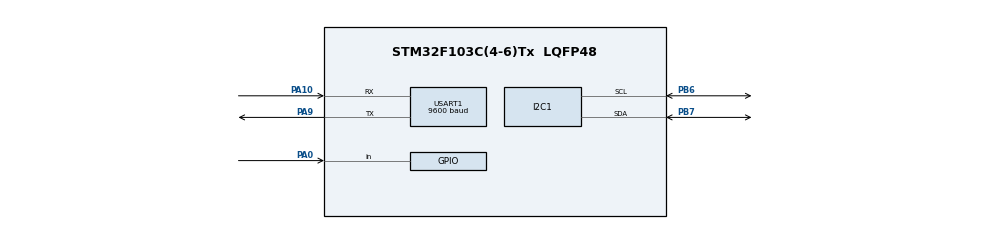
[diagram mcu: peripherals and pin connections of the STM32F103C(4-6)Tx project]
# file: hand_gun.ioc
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Mcu.Family=STM32F1
Mcu.Name=STM32F103C(4-6)Tx
Mcu.Package=LQFP48
NVIC.PriorityGroup=NVIC_PRIORITYGROUP_4
NVIC.USART1_IRQn=true\:0\:0\:false\:false\:true\:true\:true\:true
PA0-WKUP.GPIO_PuPd=GPIO_NOPULL
PA0-WKUP.Signal=GPIO_Input
PA10.Mode=Asynchronous
PA10.Signal=USART1_RX
PA9.Mode=Asynchronous
PA9.Signal=USART1_TX
PB6.Mode=I2C
PB6.Signal=I2C1_SCL
PB7.Mode=I2C
PB7.Signal=I2C1_SDA
ProjectManager.HeapSize=0x200
ProjectManager.StackSize=0x400
ProjectManager.TargetToolchain=STM32CubeIDE
RCC.APB1Freq_Value=8000000
RCC.APB2Freq_Value=8000000
USART1.BaudRate=9600
USART1.VirtualMode=VM_ASYNC
VP_SYS_VS_ND.Mode=No_Debug
board=custom

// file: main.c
/* USER CODE BEGIN Header */
/**
  ******************************************************************************
  * @file           : main.c
  * @brief          : Main program body
  ******************************************************************************
  * @attention
  *
  * Copyright (c) 2026 STMicroelectronics.
  * All rights reserved.
  *
  * This software is licensed under terms that can be found in the LICENSE file
  * in the root directory of this software component.
  * If no LICENSE file comes with this software, it is provided AS-IS.
  *
  ******************************************************************************
  */
/* USER CODE END Header */
#include "main.h"

/* USER CODE BEGIN Includes */
#include <stdio.h> // Required for sprintf
/* USER CODE END Includes */

/* USER CODE BEGIN PD */
// The MPU6050 I2C address shifted left by 1 bit for the HAL library
#define MPU6050_ADDR (0x68 << 1)
// Registers we need to access
#define MPU6050_PWR_MGMT_1_REG 0x6B
#define MPU6050_GYRO_XOUT_H_REG 0x43
#define MPU6050_ACCEL_XOUT_H_REG 0x3B // We start reading from here now
/* USER CODE END PD */

I2C_HandleTypeDef hi2c1;

UART_HandleTypeDef huart1;

/* USER CODE BEGIN PV */
int16_t Gyro_X_RAW = 0;
int16_t Gyro_Y_RAW = 0;
int16_t Gyro_Z_RAW = 0;

int16_t Accel_X_RAW = 0;
int16_t Accel_Y_RAW = 0;
int16_t Accel_Z_RAW = 0;

volatile uint8_t uart_tx_ready = 1;

/* USER CODE END PV */

void SystemClock_Config(void);
static void MX_GPIO_Init(void);
static void MX_I2C1_Init(void);
static void MX_USART1_UART_Init(void);

/* USER CODE BEGIN 0 */
extern I2C_HandleTypeDef hi2c1;
void MPU6050_Init(void) {
    uint8_t check;
    uint8_t Data;

    // 1. Check if the sensor is responding by reading its WHO_AM_I register (0x75)
    HAL_I2C_Mem_Read(&hi2c1, MPU6050_ADDR, 0x75, 1, &check, 1, 1000);

    if (check == 104) { // 104 is 0x68 in decimal, confirming the sensor is there

        // 2. Wake up the sensor by writing 0 to the Power Management 1 register
        Data = 0;
        HAL_I2C_Mem_Write(&hi2c1, MPU6050_ADDR, MPU6050_PWR_MGMT_1_REG, 1, &Data, 1, 1000);

        // 3. Set Gyroscope configuration (Optional: here we leave it at default +/- 250 degrees/sec)
        // Data = 0x00;
        // HAL_I2C_Mem_Write(&hi2c1, MPU6050_ADDR, 0x1B, 1, &Data, 1, 1000);
    }
}
void MPU6050_Read_Gyro(void) {
    uint8_t Rec_Data[6];

    // Read 6 BYTES of data starting from the GYRO_XOUT_H register
    // This reads X (High & Low), Y (High & Low), and Z (High & Low) all at once
    HAL_I2C_Mem_Read(&hi2c1, MPU6050_ADDR, MPU6050_GYRO_XOUT_H_REG, 1, Rec_Data, 6, 1000);

    // Combine the High and Low bytes into 16-bit integers
    Gyro_X_RAW = (int16_t)(Rec_Data[0] << 8 | Rec_Data[1]);
    Gyro_Y_RAW = (int16_t)(Rec_Data[2] << 8 | Rec_Data[3]);
    Gyro_Z_RAW = (int16_t)(Rec_Data[4] << 8 | Rec_Data[5]);
}
void MPU6050_Read_All(void) {
    uint8_t Rec_Data[14]; // Array to hold 14 bytes of data

    // Read 14 BYTES of data starting from the ACCEL_XOUT_H register
    HAL_I2C_Mem_Read(&hi2c1, MPU6050_ADDR, MPU6050_ACCEL_XOUT_H_REG, 1, Rec_Data, 14, 1000);

    // --- ACCELEROMETER DATA (First 6 bytes) ---
    Accel_X_RAW = (int16_t)(Rec_Data[0] << 8 | Rec_Data[1]);
    Accel_Y_RAW = (int16_t)(Rec_Data[2] << 8 | Rec_Data[3]);
    Accel_Z_RAW = (int16_t)(Rec_Data[4] << 8 | Rec_Data[5]);

    // --- TEMPERATURE DATA (Bytes 6 and 7) ---
    // We are skipping saving this to a variable, but we must account for it in the array index!
    // int16_t Temp_RAW = (int16_t)(Rec_Data[6] << 8 | Rec_Data[7]);

    // --- GYROSCOPE DATA (Last 6 bytes) ---
    Gyro_X_RAW = (int16_t)(Rec_Data[8] << 8 | Rec_Data[9]);
    Gyro_Y_RAW = (int16_t)(Rec_Data[10] << 8 | Rec_Data[11]);
    Gyro_Z_RAW = (int16_t)(Rec_Data[12] << 8 | Rec_Data[13]);
}
void HAL_UART_TxCpltCallback(UART_HandleTypeDef *huart)
{
    // Check if it was USART1 that finished
    if (huart->Instance == USART1)
    {
        uart_tx_ready = 1; // Unlock the flag so the next loop can send data!
    }
}
/* USER CODE END 0 */

int main(void)
{

  /* USER CODE BEGIN 1 */
int press=0;
  /* USER CODE END 1 */

  /* MCU Configuration--------------------------------------------------------*/

  /* Reset of all peripherals, Initializes the Flash interface and the Systick. */
  HAL_Init();

  /* Configure the system clock */
  SystemClock_Config();

  /* Initialize all configured peripherals */
  MX_GPIO_Init();
  MX_I2C1_Init();
  MX_USART1_UART_Init();
  /* USER CODE BEGIN 2 */
  MPU6050_Init(); // Initialize the sensor once before the while loop
  	char uart_buf[100];
  	  int uart_buf_len;
  /* USER CODE END 2 */

  /* Infinite loop */
  /* USER CODE BEGIN WHILE */
  while (1)
  {
	  MPU6050_Read_All();

	        // Only format and transmit if the previous transmission is completely finished
	  if (HAL_GPIO_ReadPin(GPIOA, GPIO_PIN_0) == GPIO_PIN_RESET)
	 		  {
		  press=1;
	 		  }

	        if (uart_tx_ready == 1)
	        {
	            uart_tx_ready = 0; // Lock the flag immediately

	            uart_buf_len = sprintf(uart_buf, "Press:%d | A_X:%d A_Y:%d A_Z:%d | G_X:%d G_Y:%d G_Z:%d\r\n",press,
	                                   Accel_X_RAW, Accel_Y_RAW, Accel_Z_RAW,
	                                   Gyro_X_RAW, Gyro_Y_RAW, Gyro_Z_RAW);

	            // Start the interrupt-based transmission
	            HAL_UART_Transmit_IT(&huart1, (uint8_t *)uart_buf, uart_buf_len);
	            press=0;}
    /* USER CODE END WHILE */

  }
}

void SystemClock_Config(void)
{
  RCC_OscInitTypeDef RCC_OscInitStruct = {0};
  RCC_ClkInitTypeDef RCC_ClkInitStruct = {0};

  /** Initializes the RCC Oscillators according to the specified parameters
  * in the RCC_OscInitTypeDef structure.
  */
  RCC_OscInitStruct.OscillatorType = RCC_OSCILLATORTYPE_HSI;
  RCC_OscInitStruct.HSIState = RCC_HSI_ON;
  RCC_OscInitStruct.HSICalibrationValue = RCC_HSICALIBRATION_DEFAULT;
  RCC_OscInitStruct.PLL.PLLState = RCC_PLL_NONE;
  if (HAL_RCC_OscConfig(&RCC_OscInitStruct) != HAL_OK)
  {
    Error_Handler();
  }

  /** Initializes the CPU, AHB and APB buses clocks
  */
  RCC_ClkInitStruct.ClockType = RCC_CLOCKTYPE_HCLK|RCC_CLOCKTYPE_SYSCLK
                              |RCC_CLOCKTYPE_PCLK1|RCC_CLOCKTYPE_PCLK2;
  RCC_ClkInitStruct.SYSCLKSource = RCC_SYSCLKSOURCE_HSI;
  RCC_ClkInitStruct.AHBCLKDivider = RCC_SYSCLK_DIV1;
  RCC_ClkInitStruct.APB1CLKDivider = RCC_HCLK_DIV1;
  RCC_ClkInitStruct.APB2CLKDivider = RCC_HCLK_DIV1;

  if (HAL_RCC_ClockConfig(&RCC_ClkInitStruct, FLASH_LATENCY_0) != HAL_OK)
  {
    Error_Handler();
  }
}

static void MX_I2C1_Init(void)
{

  hi2c1.Instance = I2C1;
  hi2c1.Init.ClockSpeed = 100000;
  hi2c1.Init.DutyCycle = I2C_DUTYCYCLE_2;
  hi2c1.Init.OwnAddress1 = 0;
  hi2c1.Init.AddressingMode = I2C_ADDRESSINGMODE_7BIT;
  hi2c1.Init.DualAddressMode = I2C_DUALADDRESS_DISABLE;
  hi2c1.Init.OwnAddress2 = 0;
  hi2c1.Init.GeneralCallMode = I2C_GENERALCALL_DISABLE;
  hi2c1.Init.NoStretchMode = I2C_NOSTRETCH_DISABLE;
  if (HAL_I2C_Init(&hi2c1) != HAL_OK)
  {
    Error_Handler();
  }

}

static void MX_USART1_UART_Init(void)
{

  huart1.Instance = USART1;
  huart1.Init.BaudRate = 230400;
  huart1.Init.WordLength = UART_WORDLENGTH_8B;
  huart1.Init.StopBits = UART_STOPBITS_1;
  huart1.Init.Parity = UART_PARITY_NONE;
  huart1.Init.Mode = UART_MODE_TX_RX;
  huart1.Init.HwFlowCtl = UART_HWCONTROL_NONE;
  huart1.Init.OverSampling = UART_OVERSAMPLING_16;
  if (HAL_UART_Init(&huart1) != HAL_OK)
  {
    Error_Handler();
  }

}

static void MX_GPIO_Init(void)
{
  GPIO_InitTypeDef GPIO_InitStruct = {0};

  /* GPIO Ports Clock Enable */
  __HAL_RCC_GPIOA_CLK_ENABLE();
  __HAL_RCC_GPIOB_CLK_ENABLE();

  /*Configure GPIO pin : PA0 */
  GPIO_InitStruct.Pin = GPIO_PIN_0;
  GPIO_InitStruct.Mode = GPIO_MODE_INPUT;
  GPIO_InitStruct.Pull = GPIO_NOPULL;
  HAL_GPIO_Init(GPIOA, &GPIO_InitStruct);

}

void Error_Handler(void)
{
  __disable_irq();
  while (1)
  {
  }
}
